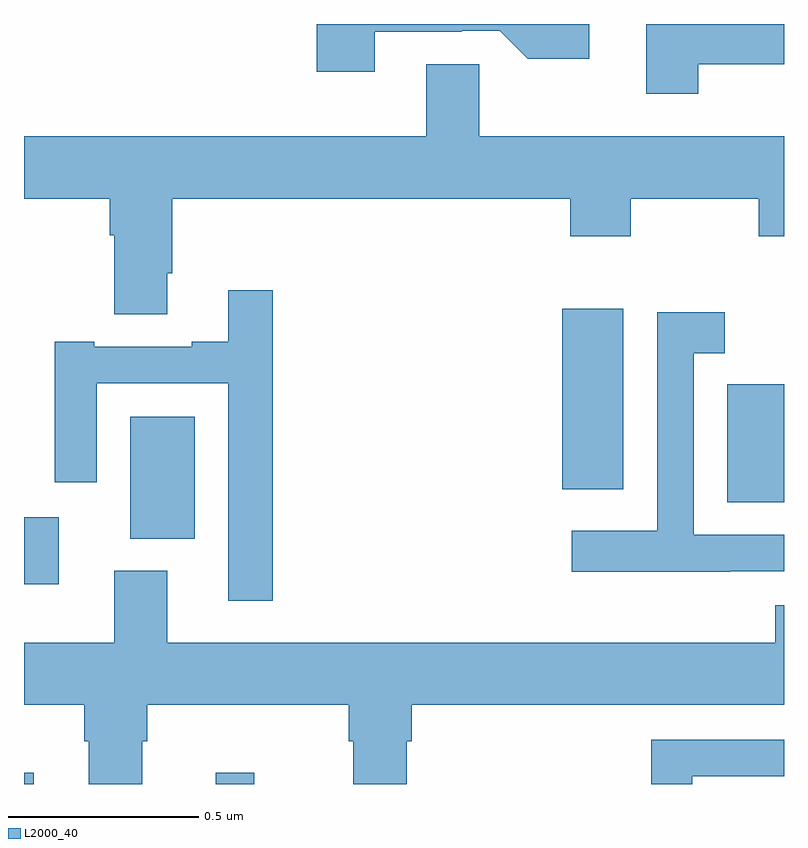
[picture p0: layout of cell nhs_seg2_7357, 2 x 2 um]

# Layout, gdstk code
import gdstk
lib = gdstk.Library(unit=1e-6, precision=1e-09)
def R(c, l, rs):  # rectangles x0, y0, x1, y1
    for r in rs: c.add(gdstk.rectangle(r[:2], r[2:], *l))
def P(c, l, *ps):  # polygons
    for p in ps: c.add(gdstk.Polygon(p, *l))
L2000_40 = (2000, 40)

nhs_seg2_7357 = lib.new_cell('nhs_seg2_7357')
R(nhs_seg2_7357, L2000_40, [(203,608.8,203.026,608.83), (203.504,608.8,203.606,608.83), (203,609.326,203.092,609.502), (203.279,609.446,203.449,609.766), (204.851,609.541,205,609.852), (204.416,609.576,204.577,610.051)])
P(nhs_seg2_7357, L2000_40, [(203.923,610.779),(204.152,610.779),(204.152,610.782),(204.252,610.782),(204.325,610.709),(204.487,610.709),(204.487,610.8),(203.771,610.8),(203.771,610.674),(203.923,610.674)],
  [(204.774,610.694),(205,610.694),(205,610.8),(204.638,610.8),(204.638,610.616),(204.774,610.616)],
  [(203.377,610.144),(203.39,610.144),(203.39,610.34),(204.437,610.34),(204.437,610.241),(204.597,610.241),(204.597,610.34),(204.934,610.34),(204.934,610.241),(205,610.241),(205,610.504),(204.198,610.504),(204.198,610.694),(204.059,610.694),(204.059,610.504),(203,610.504),(203,610.34),(203.225,610.34),(203.225,610.244),(203.237,610.244),(203.237,610.036),(203.377,610.036)],
  [(203.654,610.099),(203.537,610.099),(203.537,609.964),(203.441,609.964),(203.441,609.951),(203.185,609.951),(203.185,609.964),(203.081,609.964),(203.081,609.594),(203.191,609.594),(203.191,609.855),(203.538,609.855),(203.538,609.282),(203.654,609.282)],
  [(204.859,609.36),(205,609.36),(205,609.456),(204.762,609.456),(204.762,609.933),(204.844,609.933),(204.844,610.042),(204.666,610.042),(204.666,609.466),(204.441,609.466),(204.441,609.359),(204.859,609.359)],
  [(203.311,608.912),(203.324,608.912),(203.324,609.008),(203.855,609.008),(203.855,608.912),(203.867,608.912),(203.867,608.8),(204.007,608.8),(204.007,608.912),(204.02,608.912),(204.02,609.008),(205,609.008),(205,609.271),(204.977,609.271),(204.977,609.172),(203.377,609.172),(203.377,609.361),(203.237,609.361),(203.237,609.172),(203,609.172),(203,609.008),(203.159,609.008),(203.159,608.912),(203.171,608.912),(203.171,608.8),(203.311,608.8)],
  [(204.759,608.82),(205,608.82),(205,608.916),(204.651,608.916),(204.651,608.8),(204.759,608.8)])

lib.write_gds('nhs_seg2_7357.gds')
